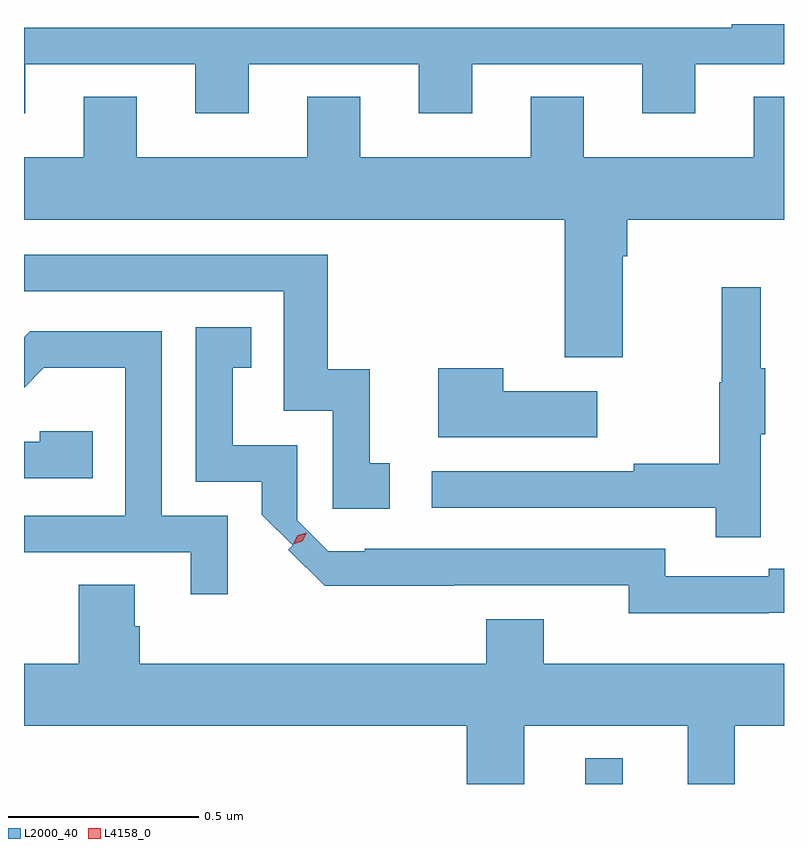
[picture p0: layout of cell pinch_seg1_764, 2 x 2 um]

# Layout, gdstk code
import gdstk
lib = gdstk.Library(unit=1e-6, precision=1e-09)
def R(c, l, rs):  # rectangles x0, y0, x1, y1
    for r in rs: c.add(gdstk.rectangle(r[:2], r[2:], *l))
def P(c, l, *ps):  # polygons
    for p in ps: c.add(gdstk.Polygon(p, *l))
L2000_40 = (2000, 40)
L4158_0 = (4158, 0)

pinch_seg1_764 = lib.new_cell('pinch_seg1_764')
R(pinch_seg1_764, L2000_40, [(880.349,514.283,880.447,514.351)])
P(pinch_seg1_764, L2000_40, [(878.875,516.177),(879.323,516.177),(879.323,516.048),(879.463,516.048),(879.463,516.177),(879.911,516.177),(879.911,516.048),(880.051,516.048),(880.051,516.177),(880.499,516.177),(880.499,516.048),(880.639,516.048),(880.639,516.177),(880.872,516.177),(880.872,516.283),(880.735,516.283),(880.735,516.273),(878.872,516.273),(878.872,516.048),(878.875,516.048)],
  [(880.295,515.406),(880.447,515.406),(880.447,515.672),(880.46,515.672),(880.46,515.768),(880.872,515.768),(880.872,516.092),(880.793,516.092),(880.793,515.932),(880.345,515.932),(880.345,516.092),(880.205,516.092),(880.205,515.932),(879.757,515.932),(879.757,516.092),(879.617,516.092),(879.617,515.932),(879.169,515.932),(879.169,516.092),(879.029,516.092),(879.029,515.932),(878.872,515.932),(878.872,515.768),(880.295,515.768)],
  [(879.835,515.127),(879.782,515.127),(879.782,515.374),(879.671,515.374),(879.671,515.676),(878.872,515.676),(878.872,515.58),(879.555,515.58),(879.555,515.265),(879.684,515.265),(879.684,515.007),(879.835,515.007)],
  [(880.811,515.203),(880.822,515.203),(880.822,515.377),(880.811,515.377),(880.811,515.59),(880.708,515.59),(880.708,515.34),(880.701,515.34),(880.701,515.126),(880.477,515.126),(880.477,515.106),(879.945,515.106),(879.945,515.01),(880.693,515.01),(880.693,514.932),(880.811,514.932)],
  [(880.832,514.734),(880.872,514.734),(880.872,514.85),(880.832,514.85),(880.832,514.83),(880.56,514.83),(880.56,514.902),(879.769,514.902),(879.769,514.896),(879.672,514.896),(879.591,514.977),(879.591,515.175),(879.421,515.175),(879.421,515.379),(879.47,515.379),(879.47,515.485),(879.324,515.485),(879.324,515.079),(879.498,515.079),(879.498,514.991),(879.579,514.911),(879.568,514.9),(879.664,514.805),(880.004,514.805),(880.004,514.806),(880.464,514.806),(880.464,514.733),(880.832,514.733)],
  [(879.408,514.989),(879.234,514.989),(879.234,515.475),(878.888,515.475),(878.872,515.459),(878.872,515.326),(878.924,515.378),(879.138,515.378),(879.138,514.989),(878.872,514.989),(878.872,514.893),(879.311,514.893),(879.311,514.782),(879.408,514.782)],
  [(880.381,515.317),(880.133,515.317),(880.133,515.377),(879.962,515.377),(879.962,515.195),(880.381,515.195)],
  [(879.053,515.211),(878.913,515.211),(878.913,515.184),(878.872,515.184),(878.872,515.088),(879.053,515.088)],
  [(880.189,514.436),(880.619,514.436),(880.619,514.283),(880.742,514.283),(880.742,514.436),(880.872,514.436),(880.872,514.6),(880.24,514.6),(880.24,514.717),(880.088,514.717),(880.088,514.6),(879.176,514.6),(879.176,514.698),(879.163,514.698),(879.163,514.808),(879.016,514.808),(879.016,514.6),(878.872,514.6),(878.872,514.436),(880.037,514.436),(880.037,514.283),(880.189,514.283)])
P(pinch_seg1_764, L4158_0, [(879.58,514.914),(879.58,514.915),(879.592,514.937),(879.616,514.944),(879.616,514.944),(879.616,514.944),(879.604,514.922),(879.58,514.914)])

lib.write_gds('pinch_seg1_764.gds')
